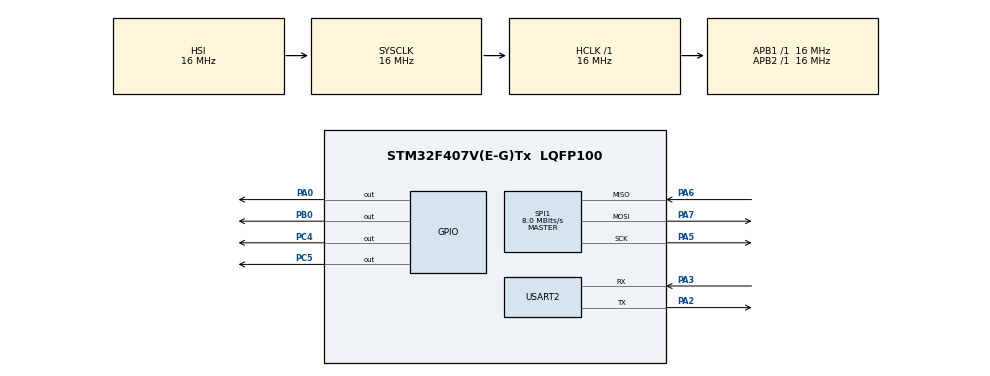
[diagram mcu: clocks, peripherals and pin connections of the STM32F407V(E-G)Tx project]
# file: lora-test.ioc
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Mcu.Family=STM32F4
Mcu.Name=STM32F407V(E-G)Tx
Mcu.Package=LQFP100
NVIC.PriorityGroup=NVIC_PRIORITYGROUP_4
PA0-WKUP.Signal=GPIO_Output
PA2.Mode=Asynchronous
PA2.Signal=USART2_TX
PA3.Mode=Asynchronous
PA3.Signal=USART2_RX
PA5.Mode=Full_Duplex_Master
PA5.Signal=SPI1_SCK
PA6.Mode=Full_Duplex_Master
PA6.Signal=SPI1_MISO
PA7.Mode=Full_Duplex_Master
PA7.Signal=SPI1_MOSI
PB0.Signal=GPIO_Output
PC4.Signal=GPIO_Output
PC5.Signal=GPIO_Output
PH0-OSC_IN.Mode=HSE-External-Oscillator
PH0-OSC_IN.Signal=RCC_OSC_IN
PH1-OSC_OUT.Mode=HSE-External-Oscillator
PH1-OSC_OUT.Signal=RCC_OSC_OUT
ProjectManager.HeapSize=0x200
ProjectManager.StackSize=0x400
ProjectManager.TargetToolchain=STM32CubeIDE
RCC.AHBFreq_Value=16000000
RCC.APB1Freq_Value=16000000
RCC.APB2Freq_Value=16000000
RCC.CortexFreq_Value=16000000
RCC.HSE_VALUE=25000000
RCC.HSI_VALUE=16000000
RCC.LSE_VALUE=32768
RCC.SYSCLKFreq_VALUE=16000000
RCC.VCOOutputFreq_Value=192000000
SPI1.CalculateBaudRate=8.0 MBits/s
SPI1.Direction=SPI_DIRECTION_2LINES
SPI1.Mode=SPI_MODE_MASTER
SPI1.VirtualType=VM_MASTER
USART2.VirtualMode=VM_ASYNC
board=custom

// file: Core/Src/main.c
/* USER CODE BEGIN Header */
/**
  ******************************************************************************
  * @file           : main.c
  * @brief          : Main program body
  ******************************************************************************
  * @attention
  *
  * Copyright (c) 2022 STMicroelectronics.
  * All rights reserved.
  *
  * This software is licensed under terms that can be found in the LICENSE file
  * in the root directory of this software component.
  * If no LICENSE file comes with this software, it is provided AS-IS.
  *
  ******************************************************************************
  */
/* USER CODE END Header */
#include "main.h"

/* USER CODE BEGIN Includes */
#include "stdio.h"
#include "string.h"
#include "stdlib.h"
#include "SX1278.h"
/* USER CODE END Includes */

/* USER CODE BEGIN PD */
//#define TX								// Uncomment for Transmission
#define RX
/* USER CODE END PD */

SPI_HandleTypeDef hspi1;

UART_HandleTypeDef huart2;

void SystemClock_Config(void);
static void MX_GPIO_Init(void);
static void MX_SPI1_Init(void);
static void MX_USART2_UART_Init(void);
/* USER CODE BEGIN PFP */
int _write(int file, char *ptr, int len) {
	int i;
	HAL_UART_Transmit(&huart2, (uint8_t*) ptr, len, 50);
	for (i = 0; i < len; i++) {
		ITM_SendChar(*ptr++);
	}
	return len;
}
/* USER CODE END PFP */

/* USER CODE BEGIN 0 */

SX1278_hw_t SX1278_hw;
SX1278_t SX1278;

int master;
int ret;

char buffer[512];

int message;
int message_length;
/* USER CODE END 0 */

int main(void)
{

  /* MCU Configuration--------------------------------------------------------*/

  /* Reset of all peripherals, Initializes the Flash interface and the Systick. */
	HAL_Init();

  /* Configure the system clock */
  SystemClock_Config();

  /* Initialize all configured peripherals */
  MX_GPIO_Init();
  MX_SPI1_Init();
  MX_USART2_UART_Init();
  /* USER CODE BEGIN 2 */

#ifdef TX

	  printf("Mode: Master\r\n");
//	  HAL_GPIO_WritePin(GPIOA, GPIO_PIN_0, GPIO_PIN_RESET);
#else
	  printf("Mode: Slave\r\n");
//	  HAL_GPIO_WritePin(GPIOA, GPIO_PIN_0, GPIO_PIN_SET);
#endif
  //initialize LoRa module
  	SX1278_hw.dio0.port = GPIOB;
  	SX1278_hw.dio0.pin = GPIO_PIN_0;
  	SX1278_hw.nss.port = GPIOC;
  	SX1278_hw.nss.pin = GPIO_PIN_4;
  	SX1278_hw.reset.port = GPIOC;
  	SX1278_hw.reset.pin = GPIO_PIN_5;
  	SX1278_hw.spi = &hspi1;

  	SX1278.hw = &SX1278_hw;

  	printf("Configuring LoRa module\r\n");
  	SX1278_init(&SX1278, 434000000, SX1278_POWER_20DBM, SX1278_LORA_SF_7, SX1278_LORA_BW_125KHZ, SX1278_LORA_CR_4_5,
  			SX1278_LORA_CRC_EN, 10, SX127X_SYNC_WORD_LORAWAN);
//  	SX1278_init(&SX1278, 434000000, SX1278_POWER_17DBM, SX1278_LORA_SF_7,
//  	SX1278_LORA_BW_125KHZ, SX1278_LORA_CR_4_5, SX1278_LORA_CRC_EN, 10);
  	printf("Done configuring LoRaModule\r\n");

#ifdef TX
  		ret = SX1278_LoRaEntryTx(&SX1278, 16, 2000);
//  		HAL_GPIO_WritePin(LED_GPIO_Port, LED_Pin, GPIO_PIN_SET);
#else
  		ret = SX1278_LoRaEntryRx(&SX1278, 16, 2000);
//  		HAL_GPIO_WritePin(LED_GPIO_Port, LED_Pin, GPIO_PIN_RESET);
#endif

  /* USER CODE END 2 */

  /* Infinite loop */
  while (1)
  {
		#ifdef TX
	  			printf("Master ...\r\n");
	  			HAL_Delay(1000);
	  			printf("Sending package...\r\n");

	  			message_length = sprintf(buffer, "Hyderabad %d", message);
	  			ret = SX1278_LoRaEntryTx(&SX1278, message_length, 2000);
	  			printf("Entry: %d\r\n", ret);
	  			printf("Sending %s\r\n", buffer);
	  			ret = SX1278_LoRaTxPacket(&SX1278, (uint8_t*) buffer,message_length, 500);
//	  			ret = SX1278_transmit(&SX1278, (uint8_t*) buffer,message_length, 2000);
				message += 1;

				if (ret == 1){
	  			printf("Transmission Successful\r\n");
	  			printf("Package sent...\r\n");
				}
				else
				{
					printf("Transmission failed \r\n");
				}

	  			HAL_Delay(100);
		#endif
		#ifdef RX
	  			printf("Slave ...\r\n");
	  			HAL_Delay(800);
	  			printf("Receiving package...\r\n");
//	  			HAL_Delay(1000);

	  			ret = SX1278_LoRaRxPacket(&SX1278);

	  			printf("Received: %d\r\n", ret);
//	  			HAL_Delay(1000);
	  			if (ret != 0) {

	  				ret = SX1278_read(&SX1278, (uint8_t*) buffer, ret);
	  				printf("Data received (%d): %s\r\n", ret, buffer);
	  			}
	  			else
	  			{
	  				printf("Receive failed \r\n");
	  			}
	  			HAL_Delay(500);

		#endif

  }
}

void SystemClock_Config(void)
{
  RCC_OscInitTypeDef RCC_OscInitStruct = {0};
  RCC_ClkInitTypeDef RCC_ClkInitStruct = {0};

  /** Configure the main internal regulator output voltage
  */
  __HAL_RCC_PWR_CLK_ENABLE();
  __HAL_PWR_VOLTAGESCALING_CONFIG(PWR_REGULATOR_VOLTAGE_SCALE1);

  /** Initializes the RCC Oscillators according to the specified parameters
  * in the RCC_OscInitTypeDef structure.
  */
  RCC_OscInitStruct.OscillatorType = RCC_OSCILLATORTYPE_HSI;
  RCC_OscInitStruct.HSIState = RCC_HSI_ON;
  RCC_OscInitStruct.HSICalibrationValue = RCC_HSICALIBRATION_DEFAULT;
  RCC_OscInitStruct.PLL.PLLState = RCC_PLL_NONE;
  if (HAL_RCC_OscConfig(&RCC_OscInitStruct) != HAL_OK)
  {
    Error_Handler();
  }

  /** Initializes the CPU, AHB and APB buses clocks
  */
  RCC_ClkInitStruct.ClockType = RCC_CLOCKTYPE_HCLK|RCC_CLOCKTYPE_SYSCLK
                              |RCC_CLOCKTYPE_PCLK1|RCC_CLOCKTYPE_PCLK2;
  RCC_ClkInitStruct.SYSCLKSource = RCC_SYSCLKSOURCE_HSI;
  RCC_ClkInitStruct.AHBCLKDivider = RCC_SYSCLK_DIV1;
  RCC_ClkInitStruct.APB1CLKDivider = RCC_HCLK_DIV1;
  RCC_ClkInitStruct.APB2CLKDivider = RCC_HCLK_DIV1;

  if (HAL_RCC_ClockConfig(&RCC_ClkInitStruct, FLASH_LATENCY_0) != HAL_OK)
  {
    Error_Handler();
  }
}

static void MX_SPI1_Init(void)
{

  /* SPI1 parameter configuration*/
  hspi1.Instance = SPI1;
  hspi1.Init.Mode = SPI_MODE_MASTER;
  hspi1.Init.Direction = SPI_DIRECTION_2LINES;
  hspi1.Init.DataSize = SPI_DATASIZE_8BIT;
  hspi1.Init.CLKPolarity = SPI_POLARITY_LOW;
  hspi1.Init.CLKPhase = SPI_PHASE_1EDGE;
  hspi1.Init.NSS = SPI_NSS_SOFT;
  hspi1.Init.BaudRatePrescaler = SPI_BAUDRATEPRESCALER_2;
  hspi1.Init.FirstBit = SPI_FIRSTBIT_MSB;
  hspi1.Init.TIMode = SPI_TIMODE_DISABLE;
  hspi1.Init.CRCCalculation = SPI_CRCCALCULATION_DISABLE;
  hspi1.Init.CRCPolynomial = 10;
  if (HAL_SPI_Init(&hspi1) != HAL_OK)
  {
    Error_Handler();
  }

}

static void MX_USART2_UART_Init(void)
{

  huart2.Instance = USART2;
  huart2.Init.BaudRate = 115200;
  huart2.Init.WordLength = UART_WORDLENGTH_8B;
  huart2.Init.StopBits = UART_STOPBITS_1;
  huart2.Init.Parity = UART_PARITY_NONE;
  huart2.Init.Mode = UART_MODE_TX_RX;
  huart2.Init.HwFlowCtl = UART_HWCONTROL_NONE;
  huart2.Init.OverSampling = UART_OVERSAMPLING_16;
  if (HAL_UART_Init(&huart2) != HAL_OK)
  {
    Error_Handler();
  }

}

static void MX_GPIO_Init(void)
{
  GPIO_InitTypeDef GPIO_InitStruct = {0};

  /* GPIO Ports Clock Enable */
  __HAL_RCC_GPIOH_CLK_ENABLE();
  __HAL_RCC_GPIOA_CLK_ENABLE();
  __HAL_RCC_GPIOC_CLK_ENABLE();
  __HAL_RCC_GPIOB_CLK_ENABLE();

  /*Configure GPIO pin Output Level */
  HAL_GPIO_WritePin(GPIOA, GPIO_PIN_0, GPIO_PIN_RESET);

  /*Configure GPIO pin Output Level */
  HAL_GPIO_WritePin(GPIOC, GPIO_PIN_4|GPIO_PIN_5, GPIO_PIN_RESET);

  /*Configure GPIO pin Output Level */
  HAL_GPIO_WritePin(GPIOB, GPIO_PIN_0, GPIO_PIN_RESET);

  /*Configure GPIO pin : PA0 */
  GPIO_InitStruct.Pin = GPIO_PIN_0;
  GPIO_InitStruct.Mode = GPIO_MODE_OUTPUT_PP;
  GPIO_InitStruct.Pull = GPIO_NOPULL;
  GPIO_InitStruct.Speed = GPIO_SPEED_FREQ_LOW;
  HAL_GPIO_Init(GPIOA, &GPIO_InitStruct);

  /*Configure GPIO pins : PC4 PC5 */
  GPIO_InitStruct.Pin = GPIO_PIN_4|GPIO_PIN_5;
  GPIO_InitStruct.Mode = GPIO_MODE_OUTPUT_PP;
  GPIO_InitStruct.Pull = GPIO_NOPULL;
  GPIO_InitStruct.Speed = GPIO_SPEED_FREQ_LOW;
  HAL_GPIO_Init(GPIOC, &GPIO_InitStruct);

  /*Configure GPIO pin : PB0 */
  GPIO_InitStruct.Pin = GPIO_PIN_0;
  GPIO_InitStruct.Mode = GPIO_MODE_OUTPUT_PP;
  GPIO_InitStruct.Pull = GPIO_NOPULL;
  GPIO_InitStruct.Speed = GPIO_SPEED_FREQ_LOW;
  HAL_GPIO_Init(GPIOB, &GPIO_InitStruct);

}

void Error_Handler(void)
{
  __disable_irq();
  while (1)
  {
  }
}
